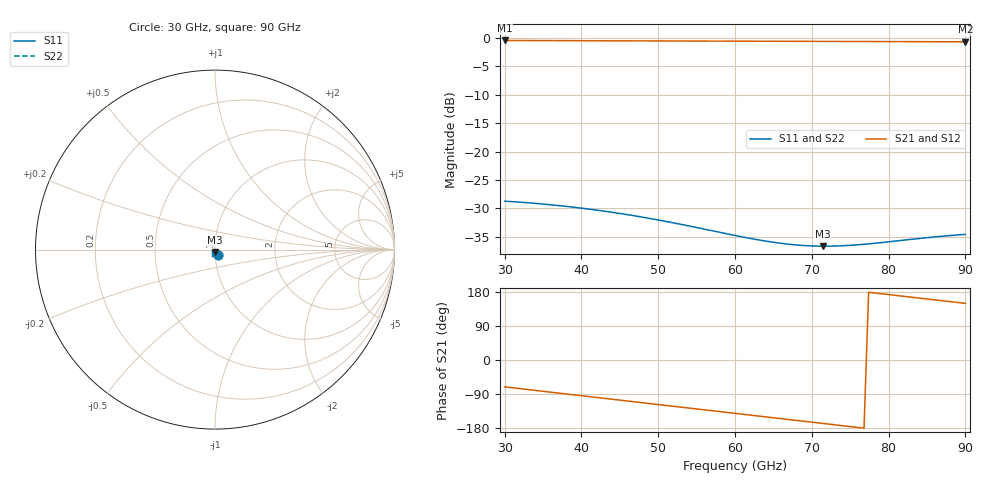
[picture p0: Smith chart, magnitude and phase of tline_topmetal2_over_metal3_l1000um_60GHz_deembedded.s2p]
! Created with skrf 2.2.0 (http://scikit-rf.org).
# GHz S DB R 50.0
! Port[1] = P1
! Port[2] = P2
!freq dBS11 angS11 dBS21 angS21 dBS12 angS12 dBS22 angS22
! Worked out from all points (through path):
!   101 points, 30 GHz to 90 GHz, reference 50 ohm
!   highest |S21| = -0.43 dB at 30 GHz (marker M1); lowest = -0.7 dB at 90 GHz (marker M2)
!   group delay of S21, straight-line fit = 6.47 ps
!   lowest |S11| = -36.6 dB at 71.4 GHz (marker M3), VSWR 1.03, Z = 49.9 - j1.47 ohm
!   |S11| at or under -10 dB: start of sweep to end of sweep
!   |S22| runs from -36.7 to -28.7 dB; largest |S21 - S12| = 1.1e-14
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30  -28.71 -58.6  -0.43 -70.9  -0.43 -70.9  -28.70 -58.7
33  -28.99 -65.5  -0.44 -77.9  -0.44 -77.9  -28.98 -65.6
35.4  -29.27 -70.8  -0.45 -83.5  -0.45 -83.5  -29.26 -70.9
37.8  -29.60 -75.8  -0.46 -89.1  -0.46 -89.1  -29.59 -75.9
40.2  -29.98 -80.6  -0.47 -94.7  -0.47 -94.7  -29.96 -80.7
42.6  -30.40 -85.1  -0.48 -100.3  -0.48 -100.3  -30.39 -85.2
45  -30.88 -89.2  -0.49 -105.9  -0.49 -105.9  -30.86 -89.4
47.4  -31.40 -92.9  -0.50 -111.5  -0.50 -111.5  -31.38 -93.1
50.4  -32.13 -96.9  -0.51 -118.5  -0.51 -118.5  -32.11 -97.1
55.2  -33.41 -101.2  -0.53 -129.6  -0.53 -129.6  -33.39 -101.5
60  -34.75 -102.3  -0.55 -140.8  -0.55 -140.8  -34.73 -102.7
63  -35.52 -101.1  -0.56 -147.8  -0.56 -147.8  -35.51 -101.5
65.4  -36.03 -99.0  -0.57 -153.4  -0.57 -153.4  -36.03 -99.5
67.8  -36.40 -96.3  -0.58 -159.0  -0.58 -159.0  -36.41 -96.7
70.2  -36.60 -93.1  -0.59 -164.5  -0.59 -164.5  -36.61 -93.6
71.4  -36.64 -91.5  -0.59 -167.3  -0.59 -167.3  -36.65 -91.9
73.8  -36.57 -88.4  -0.60 -172.9  -0.60 -172.9  -36.59 -88.9
76.2  -36.37 -86.0  -0.61 -178.5  -0.61 -178.5  -36.39 -86.4
80.4  -35.81 -83.4  -0.63 171.7  -0.63 171.7  -35.84 -83.8
82.8  -35.46 -83.0  -0.64 166.2  -0.64 166.2  -35.49 -83.4
85.2  -35.12 -83.2  -0.64 160.6  -0.64 160.6  -35.15 -83.6
90  -34.56 -85.2  -0.66 149.4  -0.66 149.4  -34.60 -85.6
